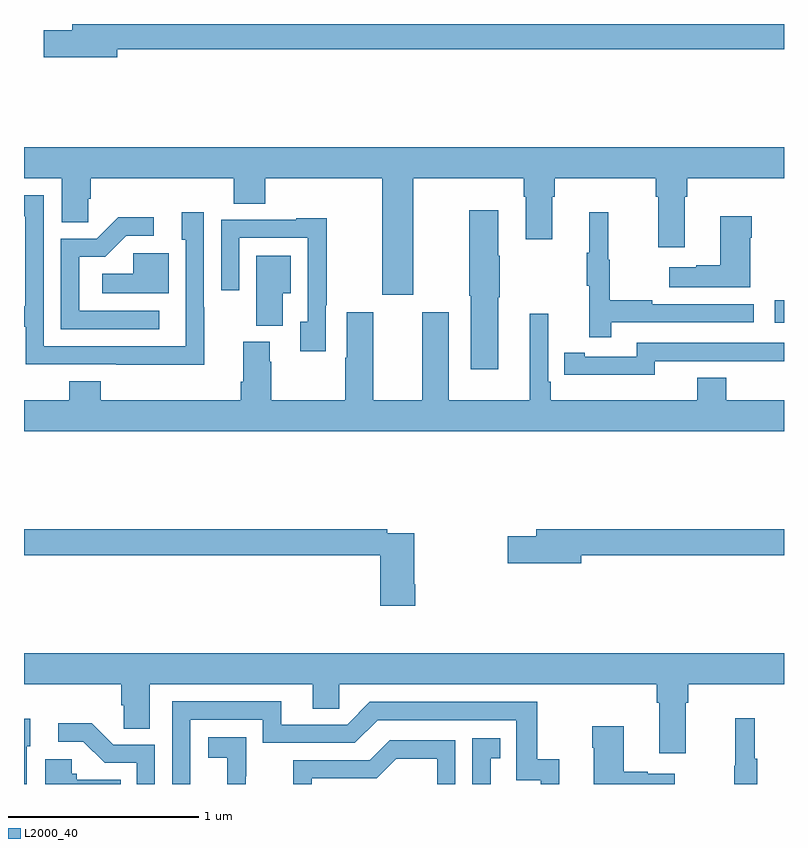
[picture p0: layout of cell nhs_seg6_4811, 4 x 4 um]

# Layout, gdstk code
import gdstk
lib = gdstk.Library(unit=1e-6, precision=1e-09)
def R(c, l, rs):  # rectangles x0, y0, x1, y1
    for r in rs: c.add(gdstk.rectangle(r[:2], r[2:], *l))
def P(c, l, *ps):  # polygons
    for p in ps: c.add(gdstk.Polygon(p, *l))
L2000_40 = (2000, 40)

nhs_seg6_4811 = lib.new_cell('nhs_seg6_4811')
R(nhs_seg6_4811, L2000_40, [(400.95,927.927,401,928.047)])
P(nhs_seg6_4811, L2000_40, [(397.492,929.368),(401,929.368),(401,929.5),(397.253,929.5),(397.253,929.468),(397.104,929.468),(397.104,929.326),(397.492,929.326)],
  [(399.049,928.688),(399.629,928.688),(399.629,928.592),(399.641,928.592),(399.641,928.368),(399.781,928.368),(399.781,928.592),(399.794,928.592),(399.794,928.688),(400.325,928.688),(400.325,928.592),(400.337,928.592),(400.337,928.326),(400.477,928.326),(400.477,928.592),(400.49,928.592),(400.49,928.688),(401,928.688),(401,928.852),(397,928.852),(397,928.688),(397.199,928.688),(397.199,928.456),(397.338,928.456),(397.338,928.579),(397.352,928.579),(397.352,928.688),(398.105,928.688),(398.105,928.555),(398.27,928.555),(398.27,928.688),(398.885,928.688),(398.885,928.074),(399.049,928.074)],
  [(397.949,928.01),(397.947,928.01),(397.947,928.51),(397.829,928.51),(397.829,928.365),(397.851,928.365),(397.851,927.804),(397.104,927.804),(397.104,928.599),(397,928.599),(397,928.488),(397.007,928.488),(397.007,928.015),(397,928.015),(397,927.906),(397.008,927.906),(397.008,927.708),(397.486,927.708),(397.486,927.707),(397.949,927.707)],
  [(399.496,928.063),(399.504,928.063),(399.504,928.28),(399.496,928.28),(399.496,928.519),(399.343,928.519),(399.343,928.069),(399.35,928.069),(399.35,927.684),(399.496,927.684)],
  [(400.091,927.93),(400.84,927.93),(400.84,928.026),(400.307,928.026),(400.307,928.046),(400.084,928.046),(400.084,928.26),(400.076,928.26),(400.076,928.51),(399.974,928.51),(399.974,928.297),(399.963,928.297),(399.963,928.123),(399.974,928.123),(399.974,927.852),(400.091,927.852)],
  [(400.822,928.376),(400.83,928.376),(400.83,928.489),(400.664,928.489),(400.664,928.229),(400.538,928.229),(400.538,928.219),(400.395,928.219),(400.395,928.115),(400.822,928.115)],
  [(397.711,927.99),(397.29,927.99),(397.29,928.275),(397.428,928.275),(397.539,928.386),(397.684,928.386),(397.684,928.484),(397.496,928.484),(397.383,928.371),(397.194,928.371),(397.194,927.894),(397.711,927.894)],
  [(398.589,928.021),(398.594,928.021),(398.594,928.477),(398.433,928.477),(398.433,928.47),(398.037,928.47),(398.037,928.098),(398.133,928.098),(398.133,928.374),(398.493,928.374),(398.493,927.933),(398.453,927.933),(398.453,927.777),(398.589,927.777)],
  [(397.762,928.293),(397.575,928.293),(397.575,928.186),(397.413,928.186),(397.413,928.082),(397.762,928.082)],
  [(398.362,928.082),(398.404,928.082),(398.404,928.279),(398.222,928.279),(398.222,927.913),(398.362,927.913)],
  [(401,927.52),(400.697,927.52),(400.697,927.637),(400.544,927.637),(400.544,927.52),(399.773,927.52),(399.773,927.616),(399.759,927.616),(399.759,927.976),(399.662,927.976),(399.662,927.52),(399.235,927.52),(399.235,927.982),(399.095,927.982),(399.095,927.52),(398.839,927.52),(398.839,927.982),(398.699,927.982),(398.699,927.743),(398.692,927.743),(398.692,927.52),(398.301,927.52),(398.301,927.722),(398.293,927.722),(398.293,927.828),(398.153,927.828),(398.153,927.616),(398.141,927.616),(398.141,927.52),(397.403,927.52),(397.403,927.619),(397.238,927.619),(397.238,927.52),(397,927.52),(397,927.356),(401,927.356)],
  [(400.32,927.726),(400.78,927.726),(400.78,927.725),(401,927.725),(401,927.822),(400.224,927.822),(400.224,927.75),(399.952,927.75),(399.952,927.77),(399.844,927.77),(399.844,927.654),(399.952,927.654),(399.952,927.653),(400.32,927.653)],
  [(399.059,926.551),(399.054,926.551),(399.054,926.82),(398.912,926.82),(398.912,926.84),(397,926.84),(397,926.704),(398.876,926.704),(398.876,926.439),(399.059,926.439)],
  [(399.934,926.704),(401,926.704),(401,926.84),(399.695,926.84),(399.695,926.804),(399.546,926.804),(399.546,926.662),(399.934,926.662)],
  [(400.483,925.928),(400.496,925.928),(400.496,926.024),(401,926.024),(401,926.188),(397,926.188),(397,926.024),(397.511,926.024),(397.511,925.915),(397.524,925.915),(397.524,925.792),(397.663,925.792),(397.663,926.024),(398.519,926.024),(398.519,925.897),(398.658,925.897),(398.658,926.024),(400.331,926.024),(400.331,925.928),(400.343,925.928),(400.343,925.662),(400.483,925.662)],
  [(397.875,925.839),(398.256,925.839),(398.256,925.716),(398.742,925.716),(398.862,925.836),(399.591,925.836),(399.591,925.521),(399.72,925.521),(399.72,925.5),(399.818,925.5),(399.818,925.63),(399.7,925.63),(399.7,925.932),(398.82,925.932),(398.7,925.812),(398.353,925.812),(398.353,925.935),(397.779,925.935),(397.779,925.5),(397.875,925.5)],
  [(400.858,925.633),(400.847,925.633),(400.847,925.846),(400.744,925.846),(400.744,925.596),(400.737,925.596),(400.737,925.5),(400.858,925.5)],
  [(397.014,925.698),(397.033,925.698),(397.033,925.843),(397,925.843),(397,925.5),(397.014,925.5)],
  [(397.689,925.707),(397.47,925.707),(397.357,925.82),(397.179,925.82),(397.179,925.722),(397.313,925.722),(397.424,925.611),(397.593,925.611),(397.593,925.5),(397.689,925.5)],
  [(400.426,925.555),(400.283,925.555),(400.283,925.565),(400.156,925.565),(400.156,925.804),(399.991,925.804),(399.991,925.691),(399.998,925.691),(399.998,925.5),(400.426,925.5)],
  [(398.168,925.541),(398.169,925.541),(398.169,925.747),(397.971,925.747),(397.971,925.637),(398.069,925.637),(398.069,925.5),(398.168,925.5)],
  [(399.457,925.635),(399.506,925.635),(399.506,925.741),(399.36,925.741),(399.36,925.5),(399.457,925.5)],
  [(398.514,925.53),(398.856,925.53),(398.96,925.634),(399.174,925.634),(399.174,925.5),(399.27,925.5),(399.27,925.731),(398.924,925.731),(398.819,925.626),(398.416,925.626),(398.416,925.5),(398.514,925.5)],
  [(397.508,925.522),(397.278,925.522),(397.278,925.554),(397.251,925.554),(397.251,925.63),(397.112,925.63),(397.112,925.5),(397.508,925.5)])

lib.write_gds('nhs_seg6_4811.gds')
